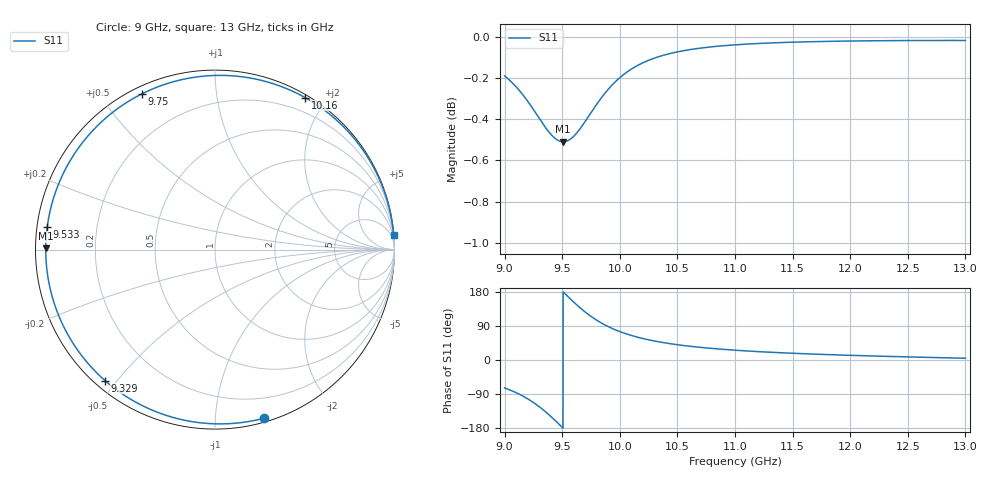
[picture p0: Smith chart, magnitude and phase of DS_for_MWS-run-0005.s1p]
! TOUCHSTONE file generated by CST DESIGN STUDIO
! Date and time: Tue Feb  4 16:39:54 2025
! Project name: C:\Work\MatlabApps\UnitCellOptimizationMatlab\CST\unitcell.cst
! Tree item: Tasks\Sweep1\SPara1\S-Parameters
! Header version: 2024
! Port assignment regex: !\s*Touchstone port\s*([0-9]+)\s*=\s*(CST MWS port|CST DES external port|CST DES block port)\s*(.+)\s* \(\"(.*)\"\)(\s*mode\s*([0-9]+))?.*
! Touchstone port assignment:
! Touchstone port 1 = CST DES external port 1 ("")
# GHz S MA R 50
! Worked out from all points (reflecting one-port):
!   4001 points, 9 GHz to 13 GHz, reference 50 ohm
!   lowest |S11| = -0.5 dB at 9.509 GHz (marker M1), VSWR 34.14, Z = 1.46 + j0.197 ohm
!   phase of S11 starts at -74 deg and turns -282 deg over the sweep
!   S11 on the Smith chart (normalised r, x): 9 GHz: 0.03, -1.33; 9.329 GHz: 0.03, -0.47; 9.533 GHz: 0.03, +0.07; 9.75 GHz: 0.03, +0.64; 10.16 GHz: 0.03, +1.76; 13 GHz: 1, +25
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9  0.9785 -73.7
9.088  0.9733 -84.5
9.191  0.9655 -100.7
9.263  0.9591 -114.8
9.329  0.9529 -130.0
9.375  0.949 -141.8
9.423  0.9457 -155.1
9.462  0.9439 -166.4
9.5  0.9431 -177.8
9.509  0.9431 179.5
9.533  0.9433 172.4
9.586  0.9452 156.8
9.646  0.9493 140.2
9.697  0.9537 127.2
9.75  0.9586 115.1
9.801  0.9633 104.7
9.858  0.9681 94.6
9.928  0.9732 84.1
10  0.9775 75.0
10.165  0.9846 59.3
10.317  0.9887 49.2
10.5  0.9917 40.3
10.722  0.994 32.7
11  0.9957 25.9
11.5  0.9971 17.7
12  0.9978 12.3
12.5  0.9981 8.1
13  0.9981 4.6
